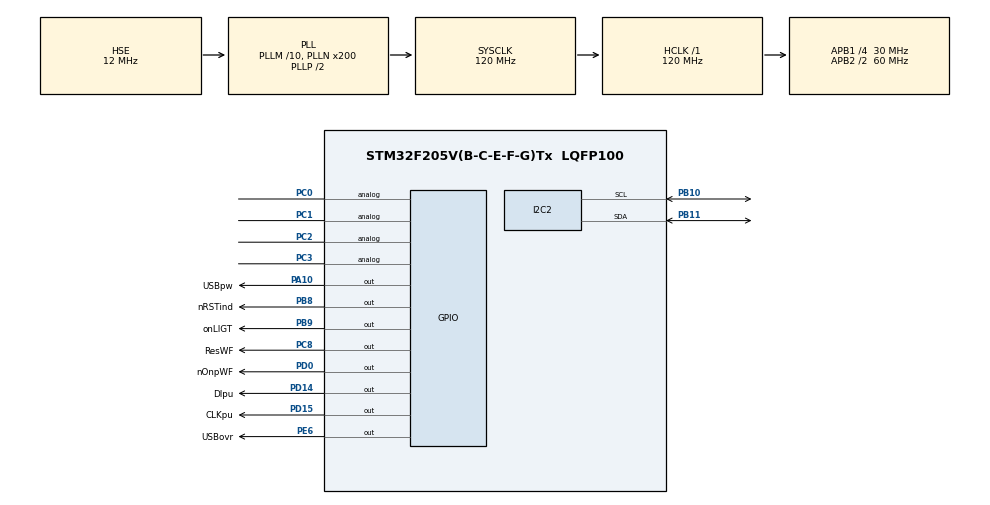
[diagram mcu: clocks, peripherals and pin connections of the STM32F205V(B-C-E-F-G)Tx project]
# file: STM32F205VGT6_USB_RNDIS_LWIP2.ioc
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Mcu.Family=STM32F2
Mcu.Name=STM32F205V(B-C-E-F-G)Tx
Mcu.Package=LQFP100
NVIC.I2C2_ER_IRQn=true\:0\:0\:false\:false\:true\:true\:true
NVIC.I2C2_EV_IRQn=true\:0\:0\:false\:false\:true\:true\:true
NVIC.PriorityGroup=NVIC_PRIORITYGROUP_4
NVIC.TIM1_TRG_COM_TIM11_IRQn=true\:0\:0\:false\:false\:true\:false\:true
NVIC.TIM8_BRK_TIM12_IRQn=true\:0\:0\:false\:false\:true\:true\:true
NVIC.TimeBase=TIM1_TRG_COM_TIM11_IRQn
NVIC.TimeBaseIP=TIM11
PA10.GPIO_Label=USBpw
PA10.Signal=GPIO_Output
PA13.Mode=Serial_Wire
PA13.Signal=SYS_JTMS-SWDIO
PA14.Mode=Serial_Wire
PA14.Signal=SYS_JTCK-SWCLK
PA9.GPIO_Label=Vbus
PA9.Signal=USB_OTG_FS_VBUS
PB10.Mode=I2C
PB10.Signal=I2C2_SCL
PB11.Mode=I2C
PB11.Signal=I2C2_SDA
PB8.GPIO_Label=nRSTind
PB8.GPIO_PuPd=GPIO_PULLUP
PB8.Signal=GPIO_Output
PB9.GPIO_Label=onLIGT
PB9.GPIO_PuPd=GPIO_PULLDOWN
PB9.Signal=GPIO_Output
PC0.Signal=SharedAnalog_PC0
PC1.Signal=SharedAnalog_PC1
PC2.Signal=SharedAnalog_PC2
PC3.Signal=SharedAnalog_PC3
PC8.GPIO_Label=ResWF
PC8.GPIO_PuPd=GPIO_PULLUP
PC8.GPIO_Speed=GPIO_SPEED_FREQ_VERY_HIGH
PC8.Signal=GPIO_Output
PD0.GPIO_Label=nOnpWF
PD0.GPIO_PuPd=GPIO_PULLDOWN
PD0.GPIO_Speed=GPIO_SPEED_FREQ_VERY_HIGH
PD0.Signal=GPIO_Output
PD14.GPIO_Label=DIpu
PD14.Signal=GPIO_Output
PD15.GPIO_Label=CLKpu
PD15.Signal=GPIO_Output
PD5.Signal=USART2_TX
PD6.Signal=USART2_RX
PE6.GPIO_Label=USBovr
PE6.Signal=GPIO_Output
PH0-OSC_IN.Mode=HSE-External-Oscillator
PH0-OSC_IN.Signal=RCC_OSC_IN
PH1-OSC_OUT.Mode=HSE-External-Oscillator
PH1-OSC_OUT.Signal=RCC_OSC_OUT
ProjectManager.HeapSize=0x2000
ProjectManager.StackSize=0x5000
ProjectManager.TargetToolchain=TrueSTUDIO
RCC.48MHZClocksFreq_Value=48000000
RCC.AHBFreq_Value=120000000
RCC.APB1CLKDivider=RCC_HCLK_DIV4
RCC.APB1Freq_Value=30000000
RCC.APB1TimFreq_Value=60000000
RCC.APB2CLKDivider=RCC_HCLK_DIV2
RCC.APB2Freq_Value=60000000
RCC.APB2TimFreq_Value=120000000
RCC.CortexFreq_Value=120000000
RCC.HCLKFreq_Value=120000000
RCC.HSE_VALUE=12000000
RCC.HSI_VALUE=16000000
RCC.LSE_VALUE=32768
RCC.PLLM=10
RCC.PLLN=200
RCC.PLLQ=5
RCC.PLLSourceVirtual=RCC_PLLSOURCE_HSE
RCC.SYSCLKFreq_VALUE=120000000
RCC.SYSCLKSource=RCC_SYSCLKSOURCE_PLLCLK
RCC.VCOOutputFreq_Value=240000000
SH.SharedAnalog_PC0.0=GPIO_Analog
SH.SharedAnalog_PC0.1=ADC1_IN10
SH.SharedAnalog_PC1.0=GPIO_Analog
SH.SharedAnalog_PC1.1=ADC1_IN11
SH.SharedAnalog_PC2.0=GPIO_Analog
SH.SharedAnalog_PC2.1=ADC1_IN12
SH.SharedAnalog_PC3.0=GPIO_Analog
SH.SharedAnalog_PC3.1=ADC1_IN13
TIM12.Channel-Output\ Compare1\ No\ Output=TIM_CHANNEL_1
TIM12.Period=100
TIM12.Prescaler=120
TIM12.Pulse-Output\ Compare1\ No\ Output=50
VP_SYS_VS_tim11.Mode=TIM11
VP_TIM12_VS_no_output1.Mode=Output Compare1 No Output
board=custom

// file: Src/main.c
/* USER CODE BEGIN Header */
/**
 ******************************************************************************
 * @file           : main.c
 * @brief          : Main program body
 ******************************************************************************
 * @attention
 *
 * <h2><center>&copy; Copyright (c) 2020 STMicroelectronics.
 * All rights reserved.</center></h2>
 *
 * This software component is licensed by ST under Ultimate Liberty license
 * SLA0044, the "License"; You may not use this file except in compliance with
 * the License. You may obtain a copy of the License at:
 *                             www.st.com/SLA0044
 *
 ******************************************************************************
 */
/* USER CODE END Header */

#include "main.h"

/* USER CODE BEGIN Includes */
//#include "usbh_hid_keybd.h"

#include "usbd_rndis_core.h"
#include "usbd_usr.h"
#include "usbd_desc.h"
#include "usb_conf.h"
#include "usbd_core.h"

#include "lwip/etharp.h"

#include "lwip/debug.h"

//#include "lcd_ST7032i.h"
#include "my_app.h"

//!!#include "dnserver.h"

//#include <stdlib.h>
//#include <stdio.h>
//#include "usbd_rndis_core.h"
//#include "usbd_usr.h"
//#include "usbd_desc.h"
//#include "usb_conf.h"
//#include "usbd_core.h"
//#include "stm32f4_discovery.h"
//#include "stm32f4_discovery_lis302dl.h"
#include "netif/etharp.h"
#include "lwip/init.h"
#include "lwip/netif.h"
#include "lwip/pbuf.h"
//#include "lwip/icmp.h"
#include "lwip/udp.h"
#include "lwip/opt.h"
#include "lwip/arch.h"
#include "lwip/api.h"
#include "lwip/inet.h"
#include "lwip/dns.h"
//!!#include "lwip/tcp_impl.h"
#include "lwip/tcp.h"
#include "lwip/prot/ethernet.h"
#include "time.h"
#include "httpd.h"

#include "dhserver.h"

/* USER CODE END Includes */

/* USER CODE BEGIN PD */
#define PADDR(ptr) ((ip_addr_t *)ptr)
/* USER CODE END PD */

/* USER CODE BEGIN PM */

__ALIGN_BEGIN
USB_OTG_CORE_HANDLE USB_OTG_dev
__ALIGN_END;

/* USER CODE END PM */

I2C_HandleTypeDef hi2c2;

TIM_HandleTypeDef htim12;

void SystemClock_Config(void);
static void MX_GPIO_Init(void);
static void MX_TIM12_Init(void);
static void MX_I2C2_Init(void);
/* USER CODE BEGIN PFP */

bool dns_query_proc(const char *name, ip_addr_t *addr);
void on_packet(const char *data, int size);
//err_t netif_init_cb(struct netif *netif);

/* USER CODE END PFP */

/* USER CODE BEGIN 0 */
extern volatile unsigned long ulHighFrequencyTimerTicks;
/* no-op send function */

static const char *ssi_tags_table[] =
{
		"systick", /* 0 */
		"wifi_login",     /* 1 */
		"acc",     /* 2 */
		"ledg",    /* 3 */
		"ledo",    /* 4 */
		"ledr",     /* 5 */
		"written"
};

extern struct netif netif_myData;

static uint8_t hwaddr[6]  = {0x20,0x89,0x84,0x6A,0x96,0x03};//0xAB};
static uint8_t ipaddr[4]  = {192, 168, 7, 1};
static uint8_t netmask[4] = {255, 255, 255, 0};
static uint8_t gateway[4] = {0, 0, 0, 0};

static uint8_t ipaddrU[4]  = {192, 168, 7, 4};
static uint8_t hwaddrU[6]  = {RNDIS_HWADDR};

#define NUM_DHCP_ENTRY 3

static dhcp_entry_t entries[NUM_DHCP_ENTRY] =
{
		// mac    ip address        subnet mask        lease time
		//{ {0}, {192, 168, 7, 3}, {255, 255, 255, 0}, 24 * 60 * 60 },
		{ {0}, {192, 168, 7, 4}, {255, 255, 255, 0}, 24 * 60 * 60 },
		{ {0}, {192, 168, 7, 5}, {255, 255, 255, 0}, 24 * 60 * 60 }
};

static dhcp_config_t dhcp_config =
{
		{192, 168, 7, 1}, 67, // server address, port
		{0, 0, 0, 0},     // dns server
		"stm",                // dns suffix
		NUM_DHCP_ENTRY,       // num entry
		entries               // entries
};

/* USER CODE END 0 */

int main(void)
{

	/* MCU Configuration--------------------------------------------------------*/

	/* Reset of all peripherals, Initializes the Flash interface and the Systick. */
	HAL_Init();

	/* Configure the system clock */
	SystemClock_Config();

	/* USER CODE BEGIN SysInit */

	HAL_GPIO_WritePin(USBovr_GPIO_Port, USBovr_Pin, GPIO_PIN_RESET);
	HAL_GPIO_WritePin(USBpw_GPIO_Port, USBpw_Pin, GPIO_PIN_RESET);

	/* USER CODE END SysInit */

	/* Initialize all configured peripherals */
	MX_GPIO_Init();
	MX_TIM12_Init();
	MX_I2C2_Init();
	/* USER CODE BEGIN 2 */

	struct netif  *netif = &netif_myData;
	lwip_init();

	/*ip4_addr_t addr;
	ip4_addr_t netmask;
	ip4_addr_t gw;
	size_t len;

	IP4_ADDR(&addr, 192, 168, 7, 3);
	IP4_ADDR(&netmask, 255, 255, 255, 0);
	IP4_ADDR(&gw, 192, 168, 7, 1);*/

	netif->hwaddr_len = 6;
	memcpy(netif->hwaddr, hwaddr, 6);

	netif = netif_add(netif,
			PADDR(ipaddr),
			PADDR(netmask),
			PADDR(gateway),
			NULL,
			netif_init_cb,
			ip_input);

	netif_set_default(netif);

	init_periph();

	printf("netif_is_up...\n");

	while (!netif_is_up(&netif_myData))
		;

	/* USER CODE END 2 */

	/* Infinite loop */
	/* USER CODE BEGIN WHILE */

	tCGI cgi_script_1 = {"/state.cgi",  state_cgi_handler };
	tCGI cgi_script_2 = {"/ctl1.cgi",  ctl_cgi_handler1};

	tCGI CGI_TAB[2];

	CGI_TAB[0] = cgi_script_1;
	CGI_TAB[1] = cgi_script_2;
	int CGI_NUM =2;

	http_set_cgi_handlers(CGI_TAB, sizeof(CGI_TAB) / sizeof(tCGI));

	http_set_ssi_handler(ssi_handler, ssi_tags_table, sizeof(ssi_tags_table) / sizeof(char *));

	httpd_init();

	printf("work\n");

	/*err_t re = etharp_add_static_entry(	&ipaddrU, &hwaddrU);

	re = etharp_add_static_entry(
			&netif_myData.ip_addr.addr,
			&hwaddr);*/
	//etharp_add_static_entry(const ip4_addr_t *ipaddr, struct eth_addr *ethaddr)

	while (dhserv_init(&dhcp_config) != ERR_OK)
	{
		printf("dhserv_init ERR\n");
	}

	/*while (dnserv_init(PADDR(ipaddr), 53, dns_query_proc) != ERR_OK)
	{
		printf("dnserv_init ERR\n");
	}*/

	// ------------------------------------------------------
	time_init();
	USBD_Init(&USB_OTG_dev, USB_OTG_FS_CORE_ID, &USR_desc, &usbd_rndis_cb, &USR_cb);
	rndis_rxproc = on_packet;
	// ----------------------------------------------------

	while (1)
	{
		/* Read a received packet from the Ethernet buffers and send it
           to the lwIP for handling */
		usb_polling();
		//ethernetif_input(&gnetif);
		/* Handle timeouts */
		//sys_check_timeouts();
		stmr(); /* call software timers */

#ifdef USE_DHCP
		/* handle periodic timers for DHCP */
		DHCP_Periodic_Handle(&gnetif);
#endif
	}

	while (1)
	{

		/* USER CODE END WHILE */

	}
}

void SystemClock_Config(void)
{
	RCC_OscInitTypeDef RCC_OscInitStruct = {0};
	RCC_ClkInitTypeDef RCC_ClkInitStruct = {0};

	/** Initializes the CPU, AHB and APB busses clocks
	 */
	RCC_OscInitStruct.OscillatorType = RCC_OSCILLATORTYPE_HSE;
	RCC_OscInitStruct.HSEState = RCC_HSE_ON;
	RCC_OscInitStruct.PLL.PLLState = RCC_PLL_ON;
	RCC_OscInitStruct.PLL.PLLSource = RCC_PLLSOURCE_HSE;
	RCC_OscInitStruct.PLL.PLLM = 10;
	RCC_OscInitStruct.PLL.PLLN = 200;
	RCC_OscInitStruct.PLL.PLLP = RCC_PLLP_DIV2;
	RCC_OscInitStruct.PLL.PLLQ = 5;
	if (HAL_RCC_OscConfig(&RCC_OscInitStruct) != HAL_OK)
	{
		Error_Handler();
	}
	/** Initializes the CPU, AHB and APB busses clocks
	 */
	RCC_ClkInitStruct.ClockType = RCC_CLOCKTYPE_HCLK|RCC_CLOCKTYPE_SYSCLK
			|RCC_CLOCKTYPE_PCLK1|RCC_CLOCKTYPE_PCLK2;
	RCC_ClkInitStruct.SYSCLKSource = RCC_SYSCLKSOURCE_PLLCLK;
	RCC_ClkInitStruct.AHBCLKDivider = RCC_SYSCLK_DIV1;
	RCC_ClkInitStruct.APB1CLKDivider = RCC_HCLK_DIV4;
	RCC_ClkInitStruct.APB2CLKDivider = RCC_HCLK_DIV2;

	if (HAL_RCC_ClockConfig(&RCC_ClkInitStruct, FLASH_LATENCY_3) != HAL_OK)
	{
		Error_Handler();
	}
}

static void MX_I2C2_Init(void)
{

	hi2c2.Instance = I2C2;
	hi2c2.Init.ClockSpeed = 100000;
	hi2c2.Init.DutyCycle = I2C_DUTYCYCLE_2;
	hi2c2.Init.OwnAddress1 = 0;
	hi2c2.Init.AddressingMode = I2C_ADDRESSINGMODE_7BIT;
	hi2c2.Init.DualAddressMode = I2C_DUALADDRESS_DISABLE;
	hi2c2.Init.OwnAddress2 = 0;
	hi2c2.Init.GeneralCallMode = I2C_GENERALCALL_DISABLE;
	hi2c2.Init.NoStretchMode = I2C_NOSTRETCH_DISABLE;
	if (HAL_I2C_Init(&hi2c2) != HAL_OK)
	{
		Error_Handler();
	}

}

static void MX_TIM12_Init(void)
{

	TIM_OC_InitTypeDef sConfigOC = {0};

	htim12.Instance = TIM12;
	htim12.Init.Prescaler = 120;
	htim12.Init.CounterMode = TIM_COUNTERMODE_UP;
	htim12.Init.Period = 100;
	htim12.Init.ClockDivision = TIM_CLOCKDIVISION_DIV1;
	htim12.Init.AutoReloadPreload = TIM_AUTORELOAD_PRELOAD_DISABLE;
	if (HAL_TIM_OC_Init(&htim12) != HAL_OK)
	{
		Error_Handler();
	}
	sConfigOC.OCMode = TIM_OCMODE_TIMING;
	sConfigOC.Pulse = 50;
	sConfigOC.OCPolarity = TIM_OCPOLARITY_HIGH;
	sConfigOC.OCFastMode = TIM_OCFAST_DISABLE;
	if (HAL_TIM_OC_ConfigChannel(&htim12, &sConfigOC, TIM_CHANNEL_1) != HAL_OK)
	{
		Error_Handler();
	}

}

static void MX_GPIO_Init(void)
{
	GPIO_InitTypeDef GPIO_InitStruct = {0};

	/* GPIO Ports Clock Enable */
	__HAL_RCC_GPIOE_CLK_ENABLE();
	__HAL_RCC_GPIOH_CLK_ENABLE();
	__HAL_RCC_GPIOC_CLK_ENABLE();
	__HAL_RCC_GPIOB_CLK_ENABLE();
	__HAL_RCC_GPIOD_CLK_ENABLE();
	__HAL_RCC_GPIOA_CLK_ENABLE();

	/*Configure GPIO pin Output Level */
	HAL_GPIO_WritePin(USBovr_GPIO_Port, USBovr_Pin, GPIO_PIN_RESET);

	/*Configure GPIO pin Output Level */
	HAL_GPIO_WritePin(GPIOD, DIpu_Pin|CLKpu_Pin|nOnpWF_Pin, GPIO_PIN_RESET);

	/*Configure GPIO pin Output Level */
	HAL_GPIO_WritePin(ResWF_GPIO_Port, ResWF_Pin, GPIO_PIN_RESET);

	/*Configure GPIO pin Output Level */
	HAL_GPIO_WritePin(USBpw_GPIO_Port, USBpw_Pin, GPIO_PIN_RESET);

	/*Configure GPIO pin Output Level */
	HAL_GPIO_WritePin(GPIOB, nRSTind_Pin|onLIGT_Pin, GPIO_PIN_RESET);

	/*Configure GPIO pin : USBovr_Pin */
	GPIO_InitStruct.Pin = USBovr_Pin;
	GPIO_InitStruct.Mode = GPIO_MODE_OUTPUT_PP;
	GPIO_InitStruct.Pull = GPIO_NOPULL;
	GPIO_InitStruct.Speed = GPIO_SPEED_FREQ_LOW;
	HAL_GPIO_Init(USBovr_GPIO_Port, &GPIO_InitStruct);

	/*Configure GPIO pins : PC0 PC1 PC2 PC3 */
	GPIO_InitStruct.Pin = GPIO_PIN_0|GPIO_PIN_1|GPIO_PIN_2|GPIO_PIN_3;
	GPIO_InitStruct.Mode = GPIO_MODE_ANALOG;
	GPIO_InitStruct.Pull = GPIO_NOPULL;
	HAL_GPIO_Init(GPIOC, &GPIO_InitStruct);

	/*Configure GPIO pins : DIpu_Pin CLKpu_Pin */
	GPIO_InitStruct.Pin = DIpu_Pin|CLKpu_Pin;
	GPIO_InitStruct.Mode = GPIO_MODE_OUTPUT_PP;
	GPIO_InitStruct.Pull = GPIO_NOPULL;
	GPIO_InitStruct.Speed = GPIO_SPEED_FREQ_LOW;
	HAL_GPIO_Init(GPIOD, &GPIO_InitStruct);

	/*Configure GPIO pin : ResWF_Pin */
	GPIO_InitStruct.Pin = ResWF_Pin;
	GPIO_InitStruct.Mode = GPIO_MODE_OUTPUT_PP;
	GPIO_InitStruct.Pull = GPIO_PULLUP;
	GPIO_InitStruct.Speed = GPIO_SPEED_FREQ_VERY_HIGH;
	HAL_GPIO_Init(ResWF_GPIO_Port, &GPIO_InitStruct);

	/*Configure GPIO pin : Vbus_Pin */
	GPIO_InitStruct.Pin = Vbus_Pin;
	GPIO_InitStruct.Mode = GPIO_MODE_INPUT;
	GPIO_InitStruct.Pull = GPIO_NOPULL;
	HAL_GPIO_Init(Vbus_GPIO_Port, &GPIO_InitStruct);

	/*Configure GPIO pin : USBpw_Pin */
	GPIO_InitStruct.Pin = USBpw_Pin;
	GPIO_InitStruct.Mode = GPIO_MODE_OUTPUT_PP;
	GPIO_InitStruct.Pull = GPIO_NOPULL;
	GPIO_InitStruct.Speed = GPIO_SPEED_FREQ_LOW;
	HAL_GPIO_Init(USBpw_GPIO_Port, &GPIO_InitStruct);

	/*Configure GPIO pin : nOnpWF_Pin */
	GPIO_InitStruct.Pin = nOnpWF_Pin;
	GPIO_InitStruct.Mode = GPIO_MODE_OUTPUT_PP;
	GPIO_InitStruct.Pull = GPIO_PULLDOWN;
	GPIO_InitStruct.Speed = GPIO_SPEED_FREQ_VERY_HIGH;
	HAL_GPIO_Init(nOnpWF_GPIO_Port, &GPIO_InitStruct);

	/*Configure GPIO pins : PD5 PD6 */
	GPIO_InitStruct.Pin = GPIO_PIN_5|GPIO_PIN_6;
	GPIO_InitStruct.Mode = GPIO_MODE_AF_PP;
	GPIO_InitStruct.Pull = GPIO_NOPULL;
	GPIO_InitStruct.Speed = GPIO_SPEED_FREQ_VERY_HIGH;
	GPIO_InitStruct.Alternate = GPIO_AF7_USART2;
	HAL_GPIO_Init(GPIOD, &GPIO_InitStruct);

	/*Configure GPIO pin : nRSTind_Pin */
	GPIO_InitStruct.Pin = nRSTind_Pin;
	GPIO_InitStruct.Mode = GPIO_MODE_OUTPUT_PP;
	GPIO_InitStruct.Pull = GPIO_PULLUP;
	GPIO_InitStruct.Speed = GPIO_SPEED_FREQ_LOW;
	HAL_GPIO_Init(nRSTind_GPIO_Port, &GPIO_InitStruct);

	/*Configure GPIO pin : onLIGT_Pin */
	GPIO_InitStruct.Pin = onLIGT_Pin;
	GPIO_InitStruct.Mode = GPIO_MODE_OUTPUT_PP;
	GPIO_InitStruct.Pull = GPIO_PULLDOWN;
	GPIO_InitStruct.Speed = GPIO_SPEED_FREQ_LOW;
	HAL_GPIO_Init(onLIGT_GPIO_Port, &GPIO_InitStruct);

}

void HAL_TIM_PeriodElapsedCallback(TIM_HandleTypeDef *htim)
{
	if (htim->Instance == TIM11) {
		HAL_IncTick();
	}
	/* USER CODE BEGIN Callback 1 */
	else if (htim->Instance == TIM12)
	{
		//printf("HAL_TIM_PeriodElapsedCallback\n");
		//!!ulHighFrequencyTimerTicks++;
	}

	/* USER CODE END Callback 1 */
}

void Error_Handler(void)
{
	/* USER CODE BEGIN Error_Handler_Debug */
	/* User can add his own implementation to report the HAL error return state */
	printf("\nError_Handler\n");
	/* USER CODE END Error_Handler_Debug */
}

/************************ (C) COPYRIGHT STMicroelectronics *****END OF FILE****/
